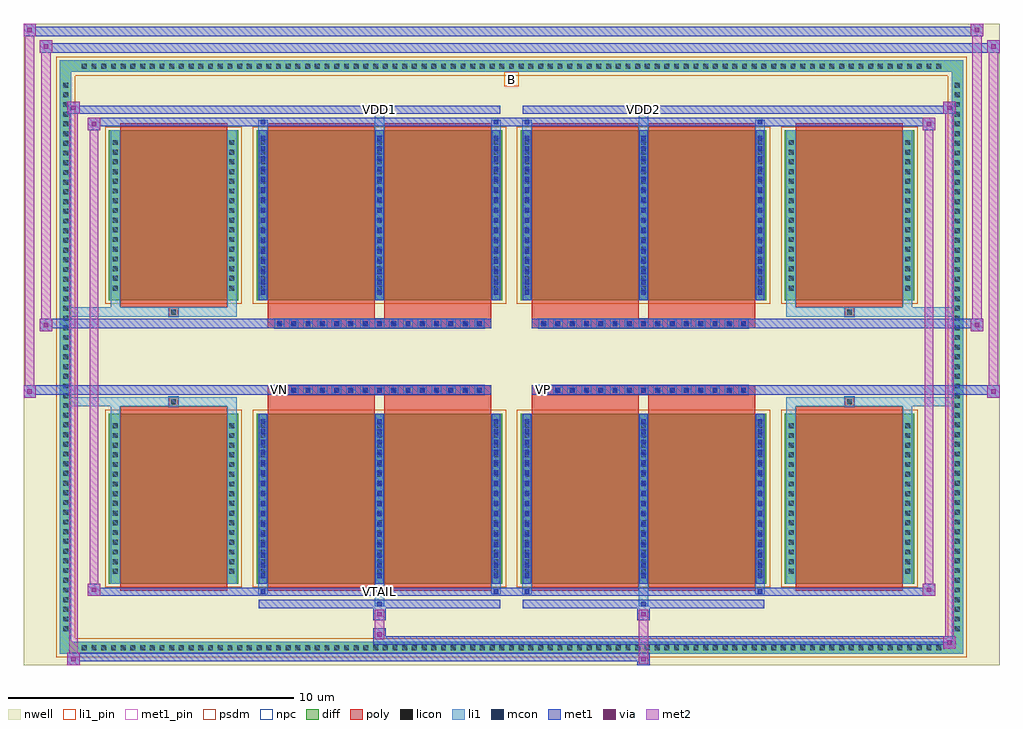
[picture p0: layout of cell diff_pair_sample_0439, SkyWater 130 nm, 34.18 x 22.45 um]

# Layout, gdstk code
import gdstk
lib = gdstk.Library(unit=1e-6, precision=5e-09)
def R(c, l, rs):  # rectangles x0, y0, x1, y1
    for r in rs: c.add(gdstk.rectangle(r[:2], r[2:], *l))
def A(c, l, x, y, w, h, nx, ny, dx, dy):  # array of equal rectangles
    R(c, l, [(x+i*dx, y+j*dy, x+i*dx+w, y+j*dy+h) for i in range(nx) for j in range(ny)])
def P(c, l, *ps):  # polygons
    for p in ps: c.add(gdstk.Polygon(p, *l))
nwell = (64, 20)
diff = (65, 20)
poly = (66, 20)
licon = (66, 44)
li1_pin = (67, 16)
li1 = (67, 20)
mcon = (67, 44)
met1_pin = (68, 16)
met1 = (68, 20)
via = (68, 44)
met2 = (69, 20)
psdm = (94, 20)
npc = (95, 20)

diff_pair_sample_0439 = lib.new_cell('diff_pair_sample_0439')
R(diff_pair_sample_0439, nwell, [(-17.09,-10.79,17.09,11.66), (-14.41,-8.98,-0.01,-0.8), (0.01,-8.98,14.41,-0.8), (-14.41,0.8,-0.01,8.98), (0.01,0.8,14.41,8.98)])
A(diff_pair_sample_0439, diff, -15.165, -10.39, 0.41, 0.41, 89, 2, 0.34, 20.37)
A(diff_pair_sample_0439, diff, -15.82, -9.725, 0.41, 0.41, 1, 57, 0, 0.34)
A(diff_pair_sample_0439, diff, 15.41, -9.725, 0.41, 0.41, 1, 57, 0, 0.34)
R(diff_pair_sample_0439, diff, [(-15.165,-10.39,15.165,-9.98), (-15.82,-9.725,-15.41,9.725), (15.41,-9.725,15.82,9.725), (-14.1,-7.935,-9.57,-1.985), (-8.93,-7.935,-0.32,-1.985), (0.32,-7.935,8.93,-1.985), (9.57,-7.935,14.1,-1.985), (-14.1,1.985,-9.57,7.935), (-8.93,1.985,-0.32,7.935), (0.32,1.985,8.93,7.935), (9.57,1.985,14.1,7.935), (-15.165,9.98,15.165,10.39)])
P(diff_pair_sample_0439, diff, [(15.82,10.39),(-15.82,10.39),(-15.82,-9.98),(-15.41,-9.98),(-15.41,9.98),(15.41,9.98),(15.41,-9.98),(-15.41,-9.98),(-15.82,-9.98),(-15.82,-10.39),(15.82,-10.39)])
A(diff_pair_sample_0439, poly, -8.29, -1.33, 0.33, 0.33, 15, 2, 0.5, 2.33)
A(diff_pair_sample_0439, poly, 0.96, -1.33, 0.33, 0.33, 15, 2, 0.5, 2.33)
R(diff_pair_sample_0439, poly, [(-13.71,-8.185,-9.96,-1.735), (-8.54,-8.185,-4.79,-1.735), (-4.46,-8.185,-0.71,-1.735), (0.71,-8.185,4.46,-1.735), (4.79,-8.185,8.54,-1.735), (9.96,-8.185,13.71,-1.735), (-12,-1.735,-11.67,-1.405), (-12,-1.735,-11.67,-1.405), (-8.54,-1.735,-4.79,-1.33), (-4.46,-1.735,-0.71,-1.33), (0.71,-1.735,4.46,-1.33), (4.79,-1.735,8.54,-1.33), (11.67,-1.735,12,-1.405), (11.67,-1.735,12,-1.405), (-8.54,-1.33,-0.71,-1), (0.71,-1.33,8.54,-1), (-8.54,1,-0.71,1.33), (0.71,1,8.54,1.33), (-8.54,1.33,-4.79,1.735), (-4.46,1.33,-0.71,1.735), (0.71,1.33,4.46,1.735), (4.79,1.33,8.54,1.735), (-12,1.405,-11.67,1.735), (-12,1.405,-11.67,1.735), (11.67,1.405,12,1.735), (11.67,1.405,12,1.735), (-13.71,1.735,-9.96,8.185), (-8.54,1.735,-4.79,8.185), (-4.46,1.735,-0.71,8.185), (0.71,1.735,4.46,8.185), (4.79,1.735,8.54,8.185), (9.96,1.735,13.71,8.185)])
A(diff_pair_sample_0439, licon, -15.045, -10.27, 0.17, 0.17, 89, 2, 0.34, 20.37)
A(diff_pair_sample_0439, licon, -15.7, -9.605, 0.17, 0.17, 1, 57, 0, 0.34)
A(diff_pair_sample_0439, licon, 15.53, -9.605, 0.17, 0.17, 1, 57, 0, 0.34)
A(diff_pair_sample_0439, licon, -13.96, -7.595, 0.17, 0.17, 1, 16, 0, 0.34)
A(diff_pair_sample_0439, licon, -9.88, -7.595, 0.17, 0.17, 1, 16, 0, 0.34)
A(diff_pair_sample_0439, licon, -8.79, -7.595, 0.17, 0.17, 3, 16, 4.08, 0.34)
A(diff_pair_sample_0439, licon, 0.46, -7.595, 0.17, 0.17, 3, 16, 4.08, 0.34)
A(diff_pair_sample_0439, licon, 9.71, -7.595, 0.17, 0.17, 1, 16, 0, 0.34)
A(diff_pair_sample_0439, licon, 13.79, -7.595, 0.17, 0.17, 1, 16, 0, 0.34)
A(diff_pair_sample_0439, licon, -8.21, -1.25, 0.17, 0.17, 15, 2, 0.5, 2.33)
A(diff_pair_sample_0439, licon, 1.04, -1.25, 0.17, 0.17, 15, 2, 0.5, 2.33)
A(diff_pair_sample_0439, licon, -13.96, 2.325, 0.17, 0.17, 1, 16, 0, 0.34)
A(diff_pair_sample_0439, licon, -9.88, 2.325, 0.17, 0.17, 1, 16, 0, 0.34)
A(diff_pair_sample_0439, licon, -8.79, 2.325, 0.17, 0.17, 3, 16, 4.08, 0.34)
A(diff_pair_sample_0439, licon, 0.46, 2.325, 0.17, 0.17, 3, 16, 4.08, 0.34)
A(diff_pair_sample_0439, licon, 9.71, 2.325, 0.17, 0.17, 1, 16, 0, 0.34)
A(diff_pair_sample_0439, licon, 13.79, 2.325, 0.17, 0.17, 1, 16, 0, 0.34)
R(diff_pair_sample_0439, licon, [(-11.92,-1.655,-11.75,-1.485), (11.75,-1.655,11.92,-1.485), (-11.92,1.485,-11.75,1.655), (11.75,1.485,11.92,1.655)])
R(diff_pair_sample_0439, li1_pin, [(-0.25,9.48,0.25,9.98)])
A(diff_pair_sample_0439, li1, -15.125, -10.35, 0.33, 0.33, 89, 2, 0.34, 20.37)
A(diff_pair_sample_0439, li1, -15.78, -9.685, 0.33, 0.33, 1, 57, 0, 0.34)
A(diff_pair_sample_0439, li1, 15.45, -9.685, 0.33, 0.33, 1, 57, 0, 0.34)
A(diff_pair_sample_0439, li1, -8.87, -7.935, 0.33, 5.95, 3, 2, 4.08, 9.92)
A(diff_pair_sample_0439, li1, 0.38, -7.935, 0.33, 5.95, 3, 2, 4.08, 9.92)
A(diff_pair_sample_0439, li1, -8.79, -7.745, 0.17, 0.17, 3, 16, 4.08, 0.36)
A(diff_pair_sample_0439, li1, -8.79, -7.745, 0.17, 5.57, 3, 2, 4.08, 9.92)
A(diff_pair_sample_0439, li1, 0.46, -7.745, 0.17, 0.17, 3, 16, 4.08, 0.36)
A(diff_pair_sample_0439, li1, 0.46, -7.745, 0.17, 5.57, 3, 2, 4.08, 9.92)
A(diff_pair_sample_0439, li1, -14.04, -7.675, 0.33, 0.33, 1, 16, 0, 0.34)
A(diff_pair_sample_0439, li1, -9.96, -7.675, 0.33, 0.33, 1, 16, 0, 0.34)
A(diff_pair_sample_0439, li1, -8.87, -7.675, 0.33, 0.33, 3, 16, 4.08, 0.34)
A(diff_pair_sample_0439, li1, 0.38, -7.675, 0.33, 0.33, 3, 16, 4.08, 0.34)
A(diff_pair_sample_0439, li1, 9.63, -7.675, 0.33, 0.33, 1, 16, 0, 0.34)
A(diff_pair_sample_0439, li1, 13.71, -7.675, 0.33, 0.33, 1, 16, 0, 0.34)
A(diff_pair_sample_0439, li1, -8.29, -1.33, 0.33, 0.33, 15, 2, 0.5, 2.33)
A(diff_pair_sample_0439, li1, 0.96, -1.33, 0.33, 0.33, 15, 2, 0.5, 2.33)
A(diff_pair_sample_0439, li1, -8.79, 2.175, 0.17, 0.17, 3, 16, 4.08, 0.36)
A(diff_pair_sample_0439, li1, 0.46, 2.175, 0.17, 0.17, 3, 16, 4.08, 0.36)
A(diff_pair_sample_0439, li1, -14.04, 2.245, 0.33, 0.33, 1, 16, 0, 0.34)
A(diff_pair_sample_0439, li1, -9.96, 2.245, 0.33, 0.33, 1, 16, 0, 0.34)
A(diff_pair_sample_0439, li1, -8.87, 2.245, 0.33, 0.33, 3, 16, 4.08, 0.34)
A(diff_pair_sample_0439, li1, 0.38, 2.245, 0.33, 0.33, 3, 16, 4.08, 0.34)
A(diff_pair_sample_0439, li1, 9.63, 2.245, 0.33, 0.33, 1, 16, 0, 0.34)
A(diff_pair_sample_0439, li1, 13.71, 2.245, 0.33, 0.33, 1, 16, 0, 0.34)
R(diff_pair_sample_0439, li1, [(-15.82,-10.39,-15.41,-9.98), (-15.82,-10.39,-15.41,-9.98), (-15.41,-10.39,15.41,-9.98), (15.41,-10.39,15.82,-9.98), (15.41,-10.39,15.82,-9.98), (-15.82,-9.98,-15.41,9.98), (15.41,-9.98,15.82,9.98), (-4.79,-8.74,-4.46,-7.935), (-4.71,-8.74,-4.54,-8.57), (4.46,-8.74,4.79,-7.935), (4.54,-8.74,4.71,-8.57), (-8.87,-8.31,-8.54,-7.935), (-8.79,-8.31,-8.62,-8.14), (-0.71,-8.31,-0.38,-7.935), (-0.63,-8.31,-0.46,-8.14), (0.38,-8.31,0.71,-7.935), (0.46,-8.31,0.63,-8.14), (8.54,-8.31,8.87,-7.935), (8.62,-8.31,8.79,-8.14), (-14.04,-7.935,-13.71,-1.985), (-9.96,-7.935,-9.63,-1.985), (9.63,-7.935,9.96,-1.985), (13.71,-7.935,14.04,-1.985), (-14.04,-1.985,-13.71,-1.405), (-9.96,-1.985,-9.63,-1.405), (9.63,-1.985,9.96,-1.405), (13.71,-1.985,14.04,-1.405), (-15.82,-1.735,-12,-1.405), (-14.04,-1.735,-12,-1.405), (-12,-1.735,-11.67,-1.405), (-11.67,-1.735,-9.63,-1.405), (9.63,-1.735,11.67,-1.405), (11.67,-1.735,12,-1.405), (11.67,-1.735,15.82,-1.405), (12,-1.735,14.04,-1.405), (-15.82,1.405,-12,1.735), (-14.04,1.405,-12,1.735), (-14.04,1.405,-13.71,1.985), (-12,1.405,-11.67,1.735), (-11.67,1.405,-9.63,1.735), (-9.96,1.405,-9.63,1.985), (9.63,1.405,11.67,1.735), (9.63,1.405,9.96,1.985), (11.67,1.405,12,1.735), (11.67,1.405,15.82,1.735), (12,1.405,14.04,1.735), (13.71,1.405,14.04,1.985), (-14.04,1.985,-13.71,7.935), (-9.96,1.985,-9.63,7.935), (9.63,1.985,9.96,7.935), (13.71,1.985,14.04,7.935), (-8.87,7.935,-8.54,8.31), (-4.79,7.935,-4.46,8.74), (-0.71,7.935,-0.38,8.31), (0.38,7.935,0.71,8.31), (4.46,7.935,4.79,8.74), (8.54,7.935,8.87,8.31), (-8.79,8.14,-8.62,8.31), (-0.63,8.14,-0.46,8.31), (0.46,8.14,0.63,8.31), (8.62,8.14,8.79,8.31), (-4.71,8.57,-4.54,8.74), (4.54,8.57,4.71,8.74), (-15.82,9.98,-15.41,10.39), (-15.82,9.98,-15.41,10.39), (-15.41,9.98,15.41,10.39), (15.41,9.98,15.82,10.39), (15.41,9.98,15.82,10.39)])
A(diff_pair_sample_0439, mcon, -8.79, -7.745, 0.17, 0.17, 3, 16, 4.08, 0.36)
A(diff_pair_sample_0439, mcon, 0.46, -7.745, 0.17, 0.17, 3, 16, 4.08, 0.36)
A(diff_pair_sample_0439, mcon, -8.21, -1.25, 0.17, 0.17, 15, 2, 0.5, 2.33)
A(diff_pair_sample_0439, mcon, 1.04, -1.25, 0.17, 0.17, 15, 2, 0.5, 2.33)
A(diff_pair_sample_0439, mcon, -8.79, 2.175, 0.17, 0.17, 3, 16, 4.08, 0.36)
A(diff_pair_sample_0439, mcon, 0.46, 2.175, 0.17, 0.17, 3, 16, 4.08, 0.36)
R(diff_pair_sample_0439, mcon, [(-4.71,-8.74,-4.54,-8.57), (4.54,-8.74,4.71,-8.57), (-8.79,-8.31,-8.62,-8.14), (-0.63,-8.31,-0.46,-8.14), (0.46,-8.31,0.63,-8.14), (8.62,-8.31,8.79,-8.14), (-8.79,8.14,-8.62,8.31), (-0.63,8.14,-0.46,8.31), (0.46,8.14,0.63,8.31), (8.62,8.14,8.79,8.31), (-4.71,8.57,-4.54,8.74), (4.54,8.57,4.71,8.74)])
R(diff_pair_sample_0439, met1_pin, [(-4.76,-8.35,-4.49,-8.08), (-8.26,-1.29,-7.99,-1.02), (0.99,-1.29,1.26,-1.02), (-4.76,8.53,-4.49,8.8), (4.49,8.53,4.76,8.8)])
A(diff_pair_sample_0439, met1, -8.85, -7.935, 0.29, 5.95, 3, 2, 4.08, 9.92)
A(diff_pair_sample_0439, met1, 0.4, -7.935, 0.29, 5.95, 3, 2, 4.08, 9.92)
A(diff_pair_sample_0439, met1, -8.85, -7.805, 0.29, 0.29, 3, 16, 4.08, 0.36)
A(diff_pair_sample_0439, met1, 0.4, -7.805, 0.29, 0.29, 3, 16, 4.08, 0.36)
A(diff_pair_sample_0439, met1, -8.27, -1.31, 0.29, 0.29, 15, 2, 0.5, 2.33)
A(diff_pair_sample_0439, met1, 0.98, -1.31, 0.29, 0.29, 15, 2, 0.5, 2.33)
A(diff_pair_sample_0439, met1, -8.85, 2.115, 0.29, 0.29, 3, 16, 4.08, 0.36)
A(diff_pair_sample_0439, met1, 0.4, 2.115, 0.29, 0.29, 3, 16, 4.08, 0.36)
R(diff_pair_sample_0439, met1, [(-15.55,-10.79,-15.12,-10.36), (4.41,-10.79,4.84,-10.36), (-15.55,-10.65,4.84,-10.36), (15.12,-10.22,15.55,-9.79), (-4.84,-10.08,15.55,-9.79), (-4.84,-9.94,-4.41,-9.51), (-4.84,-9.23,-4.41,-8.8), (4.41,-9.23,4.84,-8.8), (-8.85,-8.8,-0.4,-8.51), (-4.77,-8.8,-4.48,-8.51), (0.4,-8.8,8.85,-8.51), (4.48,-8.8,4.77,-8.51), (-14.84,-8.37,-14.41,-7.94), (-14.84,-8.37,-8.85,-8.08), (-8.85,-8.37,-8.56,-8.08), (-8.85,-8.37,-0.4,-8.08), (-0.69,-8.37,-0.4,-8.08), (-0.4,-8.37,0.4,-8.08), (0.4,-8.37,0.69,-8.08), (0.4,-8.37,8.85,-8.08), (8.56,-8.37,8.85,-8.08), (8.85,-8.37,14.84,-8.08), (14.41,-8.37,14.84,-7.94), (-17.09,-1.43,-16.66,-1), (16.66,-1.43,17.09,-1), (-17.09,-1.33,-0.71,-1), (-8.54,-1.33,-0.71,-1), (0.71,-1.33,8.54,-1), (0.71,-1.33,17.09,-1), (-16.52,0.9,-16.09,1.33), (16.09,0.9,16.52,1.33), (-16.52,1,-8.54,1.33), (-8.54,1,-0.71,1.33), (0.71,1,8.54,1.33), (8.54,1,16.52,1.33), (-14.84,7.94,-14.41,8.37), (14.41,7.94,14.84,8.37), (-14.84,8.08,-8.85,8.37), (-8.85,8.08,-8.56,8.37), (-8.85,8.08,-0.4,8.37), (-0.69,8.08,-0.4,8.37), (-0.4,8.08,0.4,8.37), (0.4,8.08,0.69,8.37), (0.4,8.08,8.85,8.37), (8.56,8.08,8.85,8.37), (8.85,8.08,14.84,8.37), (-15.55,8.51,-15.12,8.94), (-15.55,8.51,-8.85,8.8), (-8.85,8.51,-0.4,8.8), (-4.77,8.51,-4.48,8.8), (0.4,8.51,8.85,8.8), (4.48,8.51,4.77,8.8), (8.85,8.51,15.55,8.8), (15.12,8.51,15.55,8.94), (-16.52,10.66,-16.09,11.09), (-16.52,10.66,-14.41,10.99), (-14.41,10.66,14.41,10.99), (14.41,10.66,17.09,10.99), (16.66,10.66,17.09,11.09), (-17.09,11.23,-16.66,11.66), (-17.09,11.23,-14.41,11.56), (-14.41,11.23,14.41,11.56), (14.41,11.23,16.52,11.56), (16.09,11.23,16.52,11.66)])
R(diff_pair_sample_0439, via, [(-15.41,-10.65,-15.26,-10.5), (4.55,-10.65,4.7,-10.5), (15.26,-10.08,15.41,-9.93), (-4.7,-9.8,-4.55,-9.65), (-4.7,-9.09,-4.55,-8.94), (4.55,-9.09,4.7,-8.94), (-14.7,-8.23,-14.55,-8.08), (14.55,-8.23,14.7,-8.08), (-16.95,-1.29,-16.8,-1.14), (16.8,-1.29,16.95,-1.14), (-16.38,1.04,-16.23,1.19), (16.23,1.04,16.38,1.19), (-14.7,8.08,-14.55,8.23), (14.55,8.08,14.7,8.23), (-15.41,8.65,-15.26,8.8), (15.26,8.65,15.41,8.8), (-16.38,10.8,-16.23,10.95), (16.8,10.8,16.95,10.95), (-16.95,11.37,-16.8,11.52), (16.23,11.37,16.38,11.52)])
R(diff_pair_sample_0439, met2, [(-15.55,-10.79,-15.12,-10.36), (-15.48,-10.79,-15.19,8.94), (-15.19,-10.79,-15.12,-10.36), (-15.5,-10.74,-15.17,-10.41), (4.46,-10.74,4.79,-10.41), (4.46,-10.41,4.79,-9.18), (15.12,-10.22,15.55,-9.79), (15.19,-10.22,15.48,8.94), (15.48,-10.22,15.55,-9.79), (15.17,-10.17,15.5,-9.84), (-4.79,-9.89,-4.46,-9.56), (-4.79,-9.56,-4.46,-9.18), (-4.79,-9.18,-4.46,-8.85), (4.46,-9.18,4.79,-8.85), (-14.84,-8.37,-14.41,-7.94), (-14.77,-8.37,-14.48,8.37), (-14.48,-8.37,-14.41,-7.94), (14.41,-8.37,14.84,-7.94), (14.48,-8.37,14.77,8.37), (14.77,-8.37,14.84,-7.94), (-14.79,-8.32,-14.46,-7.99), (14.46,-8.32,14.79,-7.99), (-17.09,-1.43,-16.66,-1), (-17.04,-1.43,-16.71,11.66), (-16.71,-1.43,-16.66,-1), (16.66,-1.43,17.09,-1), (16.71,-1.43,17.04,11.09), (17.04,-1.43,17.09,-1), (-17.04,-1.38,-16.71,-1.05), (16.71,-1.38,17.04,-1.05), (-16.52,0.9,-16.09,1.33), (-16.47,0.9,-16.14,11.09), (-16.14,0.9,-16.09,1.33), (16.09,0.9,16.52,1.33), (16.14,0.9,16.47,11.66), (16.47,0.9,16.52,1.33), (-16.47,0.95,-16.14,1.28), (16.14,0.95,16.47,1.28), (-14.84,7.94,-14.41,8.37), (-14.48,7.94,-14.41,8.37), (14.41,7.94,14.84,8.37), (14.77,7.94,14.84,8.37), (-14.79,7.99,-14.46,8.32), (14.46,7.99,14.79,8.32), (-15.55,8.51,-15.12,8.94), (-15.19,8.51,-15.12,8.94), (15.12,8.51,15.55,8.94), (15.48,8.51,15.55,8.94), (-15.5,8.56,-15.17,8.89), (15.17,8.56,15.5,8.89), (-16.52,10.66,-16.09,11.09), (-16.14,10.66,-16.09,11.09), (16.66,10.66,17.09,11.09), (17.04,10.66,17.09,11.09), (-16.47,10.71,-16.14,11.04), (16.71,10.71,17.04,11.04), (-17.09,11.23,-16.66,11.66), (-16.71,11.23,-16.66,11.66), (16.09,11.23,16.52,11.66), (16.47,11.23,16.52,11.66), (-17.04,11.28,-16.71,11.61), (16.14,11.28,16.47,11.61)])
R(diff_pair_sample_0439, psdm, [(-14.23,-8.065,-9.44,-1.855), (-9.06,-8.065,-0.19,-1.855), (0.19,-8.065,9.06,-1.855), (9.44,-8.065,14.23,-1.855), (-14.23,1.855,-9.44,8.065), (-9.06,1.855,-0.19,8.065), (0.19,1.855,9.06,8.065), (9.44,1.855,14.23,8.065)])
P(diff_pair_sample_0439, psdm, [(15.95,10.52),(-15.95,10.52),(-15.95,-9.85),(-15.28,-9.85),(-15.28,9.85),(15.28,9.85),(15.28,-9.85),(-15.28,-9.85),(-15.95,-9.85),(-15.95,-10.52),(15.95,-10.52)])
A(diff_pair_sample_0439, npc, -8.31, -1.35, 0.37, 0.37, 15, 2, 0.5, 2.33)
A(diff_pair_sample_0439, npc, 0.94, -1.35, 0.37, 0.37, 15, 2, 0.5, 2.33)
R(diff_pair_sample_0439, npc, [(-12.02,-1.755,-11.65,-1.385), (11.65,-1.755,12.02,-1.385), (-8.31,-1.35,-7.44,-0.98), (-8.31,-1.35,-7.44,-0.98), (-7.81,-1.35,-6.94,-0.98), (-7.81,-1.35,-6.94,-0.98), (-7.31,-1.35,-6.44,-0.98), (-7.31,-1.35,-6.44,-0.98), (-6.81,-1.35,-5.94,-0.98), (-6.81,-1.35,-5.94,-0.98), (-6.31,-1.35,-5.44,-0.98), (-6.31,-1.35,-5.44,-0.98), (-5.81,-1.35,-4.94,-0.98), (-5.81,-1.35,-4.94,-0.98), (-5.31,-1.35,-4.44,-0.98), (-5.31,-1.35,-4.44,-0.98), (-4.81,-1.35,-3.94,-0.98), (-4.81,-1.35,-3.94,-0.98), (-4.31,-1.35,-3.44,-0.98), (-4.31,-1.35,-3.44,-0.98), (-3.81,-1.35,-2.94,-0.98), (-3.81,-1.35,-2.94,-0.98), (-3.31,-1.35,-2.44,-0.98), (-3.31,-1.35,-2.44,-0.98), (-2.81,-1.35,-1.94,-0.98), (-2.81,-1.35,-1.94,-0.98), (-2.31,-1.35,-1.44,-0.98), (-2.31,-1.35,-1.44,-0.98), (-1.81,-1.35,-0.94,-0.98), (-1.81,-1.35,-0.94,-0.98), (0.94,-1.35,1.81,-0.98), (0.94,-1.35,1.81,-0.98), (1.44,-1.35,2.31,-0.98), (1.44,-1.35,2.31,-0.98), (1.94,-1.35,2.81,-0.98), (1.94,-1.35,2.81,-0.98), (2.44,-1.35,3.31,-0.98), (2.44,-1.35,3.31,-0.98), (2.94,-1.35,3.81,-0.98), (2.94,-1.35,3.81,-0.98), (3.44,-1.35,4.31,-0.98), (3.44,-1.35,4.31,-0.98), (3.94,-1.35,4.81,-0.98), (3.94,-1.35,4.81,-0.98), (4.44,-1.35,5.31,-0.98), (4.44,-1.35,5.31,-0.98), (4.94,-1.35,5.81,-0.98), (4.94,-1.35,5.81,-0.98), (5.44,-1.35,6.31,-0.98), (5.44,-1.35,6.31,-0.98), (5.94,-1.35,6.81,-0.98), (5.94,-1.35,6.81,-0.98), (6.44,-1.35,7.31,-0.98), (6.44,-1.35,7.31,-0.98), (6.94,-1.35,7.81,-0.98), (6.94,-1.35,7.81,-0.98), (7.44,-1.35,8.31,-0.98), (7.44,-1.35,8.31,-0.98), (-8.31,0.98,-7.44,1.35), (-8.31,0.98,-7.44,1.35), (-7.81,0.98,-6.94,1.35), (-7.81,0.98,-6.94,1.35), (-7.31,0.98,-6.44,1.35), (-7.31,0.98,-6.44,1.35), (-6.81,0.98,-5.94,1.35), (-6.81,0.98,-5.94,1.35), (-6.31,0.98,-5.44,1.35), (-6.31,0.98,-5.44,1.35), (-5.81,0.98,-4.94,1.35), (-5.81,0.98,-4.94,1.35), (-5.31,0.98,-4.44,1.35), (-5.31,0.98,-4.44,1.35), (-4.81,0.98,-3.94,1.35), (-4.81,0.98,-3.94,1.35), (-4.31,0.98,-3.44,1.35), (-4.31,0.98,-3.44,1.35), (-3.81,0.98,-2.94,1.35), (-3.81,0.98,-2.94,1.35), (-3.31,0.98,-2.44,1.35), (-3.31,0.98,-2.44,1.35), (-2.81,0.98,-1.94,1.35), (-2.81,0.98,-1.94,1.35), (-2.31,0.98,-1.44,1.35), (-2.31,0.98,-1.44,1.35), (-1.81,0.98,-0.94,1.35), (-1.81,0.98,-0.94,1.35), (0.94,0.98,1.81,1.35), (0.94,0.98,1.81,1.35), (1.44,0.98,2.31,1.35), (1.44,0.98,2.31,1.35), (1.94,0.98,2.81,1.35), (1.94,0.98,2.81,1.35), (2.44,0.98,3.31,1.35), (2.44,0.98,3.31,1.35), (2.94,0.98,3.81,1.35), (2.94,0.98,3.81,1.35), (3.44,0.98,4.31,1.35), (3.44,0.98,4.31,1.35), (3.94,0.98,4.81,1.35), (3.94,0.98,4.81,1.35), (4.44,0.98,5.31,1.35), (4.44,0.98,5.31,1.35), (4.94,0.98,5.81,1.35), (4.94,0.98,5.81,1.35), (5.44,0.98,6.31,1.35), (5.44,0.98,6.31,1.35), (5.94,0.98,6.81,1.35), (5.94,0.98,6.81,1.35), (6.44,0.98,7.31,1.35), (6.44,0.98,7.31,1.35), (6.94,0.98,7.81,1.35), (6.94,0.98,7.81,1.35), (7.44,0.98,8.31,1.35), (7.44,0.98,8.31,1.35), (-12.02,1.385,-11.65,1.755), (11.65,1.385,12.02,1.755)])
diff_pair_sample_0439.add(gdstk.Label('VTAIL', (-4.625,-8.215), layer=68, texttype=5))
diff_pair_sample_0439.add(gdstk.Label('VN', (-8.125,-1.155), layer=68, texttype=5))
diff_pair_sample_0439.add(gdstk.Label('VP', (1.125,-1.155), layer=68, texttype=5))
diff_pair_sample_0439.add(gdstk.Label('B', (0,9.73), layer=67, texttype=5))
diff_pair_sample_0439.add(gdstk.Label('VDD2', (4.625,8.665), layer=68, texttype=5))
diff_pair_sample_0439.add(gdstk.Label('VDD1', (-4.625,8.665), layer=68, texttype=5))

lib.write_gds('diff_pair_sample_0439.gds')
